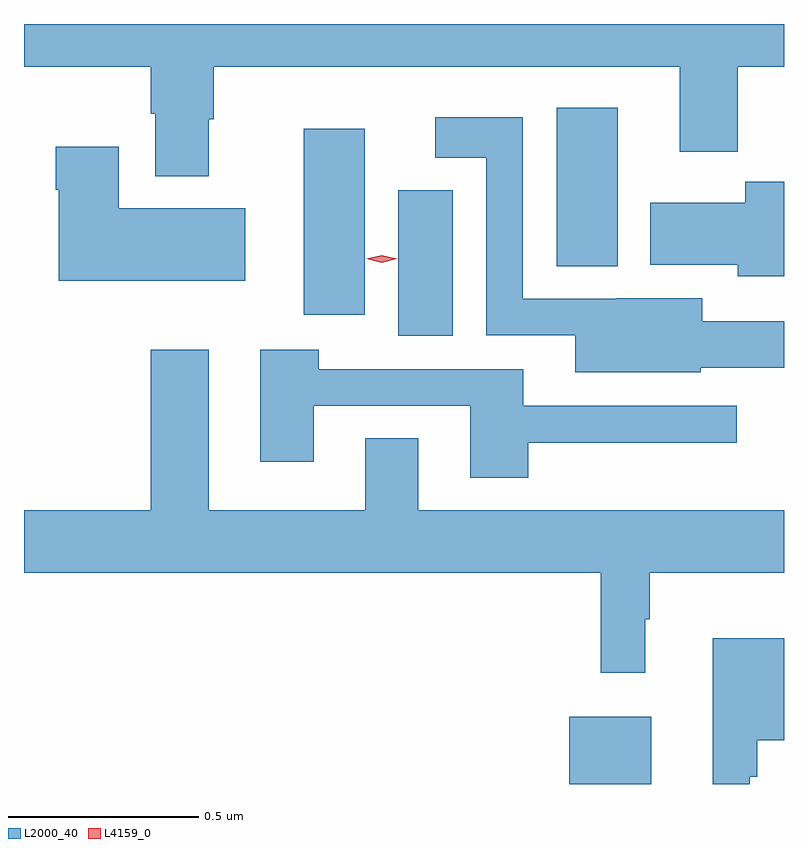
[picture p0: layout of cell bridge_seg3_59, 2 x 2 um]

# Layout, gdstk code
import gdstk
lib = gdstk.Library(unit=1e-6, precision=1e-09)
def R(c, l, rs):  # rectangles x0, y0, x1, y1
    for r in rs: c.add(gdstk.rectangle(r[:2], r[2:], *l))
def P(c, l, *ps):  # polygons
    for p in ps: c.add(gdstk.Polygon(p, *l))
L2000_40 = (2000, 40)
L4159_0 = (4159, 0)

bridge_seg3_59 = lib.new_cell('bridge_seg3_59')
R(bridge_seg3_59, L2000_40, [(583.16,679.048,583.375,679.225), (582.71,680.228,582.853,680.611), (582.461,680.283,582.622,680.773), (583.127,680.411,583.288,680.827)])
P(bridge_seg3_59, L2000_40, [(582.211,680.798),(582.224,680.798),(582.224,680.936),(583.451,680.936),(583.451,680.712),(583.603,680.712),(583.603,680.936),(583.725,680.936),(583.725,681.048),(581.725,681.048),(581.725,680.936),(582.059,680.936),(582.059,680.812),(582.071,680.812),(582.071,680.648),(582.211,680.648)],
  [(583.506,680.144),(583.725,680.144),(583.725,680.266),(583.51,680.266),(583.51,680.326),(583.284,680.326),(583.284,680.325),(583.038,680.325),(583.038,680.803),(582.807,680.803),(582.807,680.696),(582.942,680.696),(582.942,680.229),(583.175,680.229),(583.175,680.132),(583.506,680.132)],
  [(582.307,680.563),(581.974,680.563),(581.974,680.725),(581.809,680.725),(581.809,680.612),(581.816,680.612),(581.816,680.372),(582.307,680.372)],
  [(583.725,680.633),(583.623,680.633),(583.623,680.578),(583.373,680.578),(583.373,680.414),(583.603,680.414),(583.603,680.384),(583.725,680.384)],
  [(583.36,679.481),(583.372,679.481),(583.372,679.604),(583.725,679.604),(583.725,679.768),(582.763,679.768),(582.763,679.958),(582.623,679.958),(582.623,679.768),(582.211,679.768),(582.211,680.191),(582.059,680.191),(582.059,679.768),(581.725,679.768),(581.725,679.604),(583.243,679.604),(583.243,679.341),(583.36,679.341)],
  [(583.052,679.946),(583.6,679.946),(583.6,680.043),(583.039,680.043),(583.039,680.139),(582.5,680.139),(582.5,680.191),(582.347,680.191),(582.347,679.896),(582.487,679.896),(582.487,680.043),(582.899,680.043),(582.899,679.854),(583.052,679.854)],
  [(583.635,679.067),(583.655,679.067),(583.655,679.163),(583.725,679.163),(583.725,679.432),(583.538,679.432),(583.538,679.048),(583.635,679.048)])
P(bridge_seg3_59, L4159_0, [(582.666,680.42),(582.625,680.43),(582.625,680.43),(582.625,680.43),(582.666,680.44),(582.707,680.43),(582.707,680.43),(582.707,680.43)])

lib.write_gds('bridge_seg3_59.gds')
